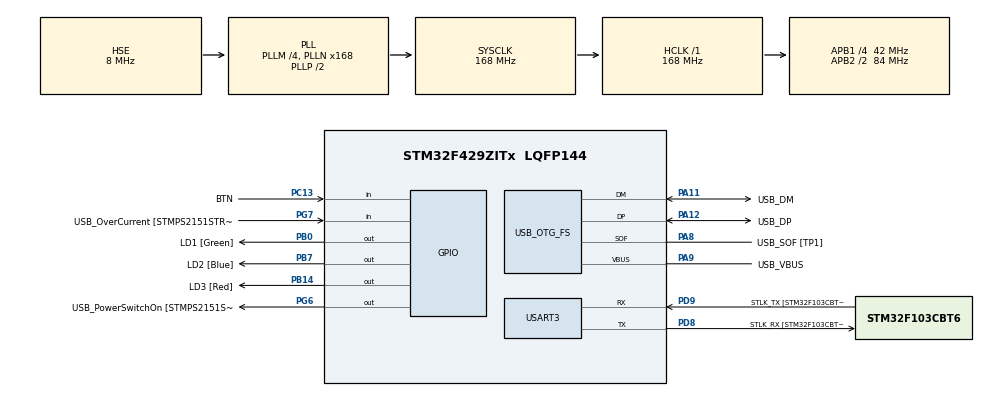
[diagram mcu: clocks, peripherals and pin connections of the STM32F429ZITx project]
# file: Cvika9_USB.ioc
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Mcu.Family=STM32F4
Mcu.Name=STM32F429ZITx
Mcu.Package=LQFP144
NVIC.OTG_FS_IRQn=true\:0\:0\:false\:false\:true\:false\:true\:true
NVIC.PriorityGroup=NVIC_PRIORITYGROUP_4
PA1.GPIO_Label=RMII_REF_CLK [LAN8742A-CZ-TR_REFCLK0]
PA1.Signal=ETH_REF_CLK
PA10.GPIO_Label=USB_ID
PA10.Signal=USB_OTG_FS_ID
PA11.GPIO_Label=USB_DM
PA11.Mode=Device_Only
PA11.Signal=USB_OTG_FS_DM
PA12.GPIO_Label=USB_DP
PA12.Mode=Device_Only
PA12.Signal=USB_OTG_FS_DP
PA13.GPIO_Label=TMS
PA13.Mode=Serial_Wire
PA13.Signal=SYS_JTMS-SWDIO
PA14.GPIO_Label=TCK
PA14.Mode=Serial_Wire
PA14.Signal=SYS_JTCK-SWCLK
PA2.GPIO_Label=RMII_MDIO [LAN8742A-CZ-TR_MDIO]
PA2.Signal=ETH_MDIO
PA7.GPIO_Label=RMII_CRS_DV [LAN8742A-CZ-TR_CRS_DV]
PA7.Signal=ETH_CRS_DV
PA8.GPIO_Label=USB_SOF [TP1]
PA8.Mode=Activate_SOF_FS
PA8.Signal=USB_OTG_FS_SOF
PA9.GPIO_Label=USB_VBUS
PA9.Mode=Activate_VBUS
PA9.Signal=USB_OTG_FS_VBUS
PB0.GPIO_Label=LD1 [Green]
PB0.Signal=GPIO_Output
PB13.GPIO_Label=RMII_TXD1 [LAN8742A-CZ-TR_TXD1]
PB13.Signal=ETH_TXD1
PB14.GPIO_Label=LD3 [Red]
PB14.Signal=GPIO_Output
PB7.GPIO_Label=LD2 [Blue]
PB7.Signal=GPIO_Output
PC1.GPIO_Label=RMII_MDC [LAN8742A-CZ-TR_MDC]
PC1.Signal=ETH_MDC
PC13.GPIO_Label=BTN
PC13.GPIO_PuPd=GPIO_PULLDOWN
PC13.Signal=GPIO_Input
PC14/OSC32_IN.Mode=LSE-External-Oscillator
PC14/OSC32_IN.Signal=RCC_OSC32_IN
PC15/OSC32_OUT.Mode=LSE-External-Oscillator
PC15/OSC32_OUT.Signal=RCC_OSC32_OUT
PC4.GPIO_Label=RMII_RXD0 [LAN8742A-CZ-TR_RXD0]
PC4.Signal=ETH_RXD0
PC5.GPIO_Label=RMII_RXD1 [LAN8742A-CZ-TR_RXD1]
PC5.Signal=ETH_RXD1
PD8.GPIO_Label=STLK_RX [STM32F103CBT6_PA3]
PD8.Mode=Asynchronous
PD8.Signal=USART3_TX
PD9.GPIO_Label=STLK_TX [STM32F103CBT6_PA2]
PD9.Mode=Asynchronous
PD9.Signal=USART3_RX
PG11.GPIO_Label=RMII_TX_EN [LAN8742A-CZ-TR_TXEN]
PG11.Signal=ETH_TX_EN
PG13.GPIO_Label=RMII_TXD0 [LAN8742A-CZ-TR_TXD0]
PG13.Signal=ETH_TXD0
PG6.GPIO_Label=USB_PowerSwitchOn [STMPS2151STR_EN]
PG6.Signal=GPIO_Output
PG7.GPIO_Label=USB_OverCurrent [STMPS2151STR_FAULT]
PG7.Signal=GPIO_Input
PH0/OSC_IN.GPIO_Label=MCO [STM32F103CBT6_PA8]
PH0/OSC_IN.Mode=HSE-External-Clock-Source
PH0/OSC_IN.Signal=RCC_OSC_IN
PH1/OSC_OUT.Mode=HSE-External-Clock-Source
PH1/OSC_OUT.Signal=RCC_OSC_OUT
ProjectManager.HeapSize=0x200
ProjectManager.StackSize=0x400
ProjectManager.TargetToolchain=STM32CubeIDE
RCC.48MHZClocksFreq_Value=48000000
RCC.AHBFreq_Value=168000000
RCC.APB1CLKDivider=RCC_HCLK_DIV4
RCC.APB1Freq_Value=42000000
RCC.APB1TimFreq_Value=84000000
RCC.APB2CLKDivider=RCC_HCLK_DIV2
RCC.APB2Freq_Value=84000000
RCC.APB2TimCLKDivider=2
RCC.APB2TimFreq_Value=168000000
RCC.CortexFreq_Value=168000000
RCC.HCLKFreq_Value=168000000
RCC.HSE_VALUE=8000000
RCC.HSI_VALUE=16000000
RCC.PLLM=4
RCC.PLLMUL=RCC_PLL_MUL9
RCC.PLLN=168
RCC.PLLQ=7
RCC.PRESCALERUSB=RCC_USBCLKSOURCE_PLL_DIV1_5
RCC.SYSCLKFreq_VALUE=168000000
RCC.SYSCLKSource=RCC_SYSCLKSOURCE_PLLCLK
RCC.SYSCLKSourceVirtual=RCC_SYSCLKSOURCE_PLLCLK
RCC.USBFreq_Value=48000000
RCC.VCOOutputFreq_Value=336000000
USART3.VirtualMode=VM_ASYNC
USB_DEVICE.CLASS_NAME_FS=HID
USB_DEVICE.VirtualMode-HID_FS=Hid
USB_DEVICE.VirtualModeFS=Hid_FS
USB_OTG_FS.VirtualMode=Device_Only
VP_USB_DEVICE_VS_USB_DEVICE_HID_FS.Mode=HID_FS
board=NUCLEO-F429ZI

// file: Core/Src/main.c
/* USER CODE BEGIN Header */
/**
 ******************************************************************************
 * @file           : main.c
 * @brief          : Main program body
 ******************************************************************************
 * @attention
 *
 * Copyright (c) 2024 STMicroelectronics.
 * All rights reserved.
 *
 * This software is licensed under terms that can be found in the LICENSE file
 * in the root directory of this software component.
 * If no LICENSE file comes with this software, it is provided AS-IS.
 *
 ******************************************************************************
 */
/* USER CODE END Header */
#include "main.h"
#include "usb_device.h"

/* USER CODE BEGIN Includes */
#include "usbd_hid.h"
#include <math.h>
#include <stdbool.h>
extern USBD_HandleTypeDef hUsbDeviceFS;
/* USER CODE END Includes */

UART_HandleTypeDef huart3;

void SystemClock_Config(void);
static void MX_GPIO_Init(void);
static void MX_USART3_UART_Init(void);
/* USER CODE BEGIN PFP */

void step(int x, int y, bool btn)
{
	uint8_t buff[4];
	buff[0] = btn ? 0x01 : 0x00;
	buff[1] = (int8_t)(x); //X +10
	buff[2] = (int8_t)(y); //Y -3
	buff[3] = 0; //No scroll

	HAL_GPIO_TogglePin(LD1_GPIO_Port, LD1_Pin);
	USBD_HID_SendReport(&hUsbDeviceFS, buff, sizeof(buff));
	HAL_Delay(USBD_HID_GetPollingInterval(&hUsbDeviceFS));
}

void circle(int radius)
{
	uint8_t r = radius;
	const uint8_t steps = 50;
	float angle = 2 * M_PI / steps;

	static int32_t sx = 0;
	static int32_t sy = 0;

	for(int i = 0; i <= steps; i ++)
	{

		float phi = i * angle;
		float x = r * cosf(phi);
		float y = r * sinf(phi);

		int32_t diff_x = x - sx;
		int32_t diff_y = y - sy;

		step(diff_x, diff_y, 1);
		HAL_Delay(50);

		sx = x;
		sy = y;
	}
}

void smiley(int radius, int eyes)
{
	uint8_t r = radius;
	const uint8_t steps = 50;
	float angle = 2 * M_PI / steps;

	static int32_t sx = 0;
	static int32_t sy = 0;

	//Face
	for(int i = 0; i <= steps; i++)
	{
		float phi = i * angle;
		float x = r * cosf(phi);
		float y = r * sinf(phi);

		int32_t diff_x = x - sx;
		int32_t diff_y = y - sy;

		step(diff_x, diff_y, 1);
		HAL_Delay(20);

		sx = x;
		sy = y;
	}

	//Eye n. 1

	uint8_t r2 = eyes;
	static int32_t jumpx = -50;
	static int32_t jumpy = -20;
	static int32_t sx2 = 0;
	static int32_t sy2 = 0;
	step(0,0,0);
	step(jumpx, jumpy, 0);

	for(int i = 0; i <= steps; i++)
	{
		float phi = i * angle;
		float x = r2 * cosf(phi);
		float y = r2 * sinf(phi);

		int32_t diff_x = x - sx2;
		int32_t diff_y = y - sy2;

		step(diff_x, diff_y, 1);
		HAL_Delay(5);

		sx2 = x;
		sy2 = y;
	}

	//Eye n. 2
	static int32_t jumpx2 = 4000;
	static int32_t jumpy2 = 0;
	step(0,0,0);
	step(jumpx2, jumpy2, 0);

	static int32_t sx3 = 0;
	static int32_t sy3 = 0;

	for(int i = 0; i <= steps; i++)
	{
		float phi = i * angle;
		float x = r2 * cosf(phi);
		float y = r2 * sinf(phi);

		int32_t diff_x = x - sx3;
		int32_t diff_y = y - sy3;

		step(diff_x, diff_y, 1);
		HAL_Delay(5);

		sx3 = x;
		sy3 = y;
	}

	//Mouth
	uint8_t r3 = 50;

	static int32_t jumpx3 = 60;
	static int32_t jumpy3 = 60;

	step(0,0,0);
	step(jumpx3, jumpy3, 0);

	static int32_t sx4 = 0;
	static int32_t sy4 = 0;

	for(int i = 25; i <= steps; i++)
	{
		float phi = i * angle;
		float x = r3 * cosf(phi);
		float y = r3 * sinf(phi);

		int32_t diff_x = x - sx4;
		int32_t diff_y = y - sy4;

		step(diff_x, diff_y, 1);
		HAL_Delay(5);

		sx4 = x;
		sy4 = y;
	}
/*
	 //Nose
	int8_t x5 = 34;
	int8_t y5 = 50;
	step(0,0,0);
	step(x5, y5,0);
	for(int i = 0; i < 9; i++)
	{
		step(0 ,i, 1);
		HAL_Delay(5);
	}
step(0,0,0);
*/
}

/* USER CODE END PFP */

/* USER CODE BEGIN 0 */

//USBD_HID_SendReport(&hUsbDeviceFS, buff, sizeof(buff));
//HAL_Delay(USBD_HID_GetPollingInterval(&hUsbDeviceFS));
/* USER CODE END 0 */

int main(void)
{

	/* MCU Configuration--------------------------------------------------------*/

	/* Reset of all peripherals, Initializes the Flash interface and the Systick. */
	HAL_Init();

	/* Configure the system clock */
	SystemClock_Config();

	/* Initialize all configured peripherals */
	MX_GPIO_Init();
	MX_USART3_UART_Init();
	MX_USB_DEVICE_Init();

	/* Infinite loop */
	/* USER CODE BEGIN WHILE */
	while (1)
	{

		if(HAL_GPIO_ReadPin(BTN_GPIO_Port,BTN_Pin) == 1)
		{
			/*
			uint8_t buff[4];
			buff[0] = 0x01;
			buff[1] = (int8_t)(10); //X +10
			buff[2] = (int8_t)(-3); //Y -3
			buff[3] = 0; //No scroll

			HAL_GPIO_TogglePin(LD1_GPIO_Port, LD1_Pin);
			USBD_HID_SendReport(&hUsbDeviceFS, buff, sizeof(buff));
			HAL_Delay(USBD_HID_GetPollingInterval(&hUsbDeviceFS));
			 */
			//circle(100);
			smiley(100,30);
		}

		/* USER CODE END WHILE */

	}
}

void SystemClock_Config(void)
{
	RCC_OscInitTypeDef RCC_OscInitStruct = {0};
	RCC_ClkInitTypeDef RCC_ClkInitStruct = {0};

	/** Configure the main internal regulator output voltage
	 */
	__HAL_RCC_PWR_CLK_ENABLE();
	__HAL_PWR_VOLTAGESCALING_CONFIG(PWR_REGULATOR_VOLTAGE_SCALE1);

	/** Initializes the RCC Oscillators according to the specified parameters
	 * in the RCC_OscInitTypeDef structure.
	 */
	RCC_OscInitStruct.OscillatorType = RCC_OSCILLATORTYPE_HSE;
	RCC_OscInitStruct.HSEState = RCC_HSE_BYPASS;
	RCC_OscInitStruct.PLL.PLLState = RCC_PLL_ON;
	RCC_OscInitStruct.PLL.PLLSource = RCC_PLLSOURCE_HSE;
	RCC_OscInitStruct.PLL.PLLM = 4;
	RCC_OscInitStruct.PLL.PLLN = 168;
	RCC_OscInitStruct.PLL.PLLP = RCC_PLLP_DIV2;
	RCC_OscInitStruct.PLL.PLLQ = 7;
	if (HAL_RCC_OscConfig(&RCC_OscInitStruct) != HAL_OK)
	{
		Error_Handler();
	}

	/** Initializes the CPU, AHB and APB buses clocks
	 */
	RCC_ClkInitStruct.ClockType = RCC_CLOCKTYPE_HCLK|RCC_CLOCKTYPE_SYSCLK
			|RCC_CLOCKTYPE_PCLK1|RCC_CLOCKTYPE_PCLK2;
	RCC_ClkInitStruct.SYSCLKSource = RCC_SYSCLKSOURCE_PLLCLK;
	RCC_ClkInitStruct.AHBCLKDivider = RCC_SYSCLK_DIV1;
	RCC_ClkInitStruct.APB1CLKDivider = RCC_HCLK_DIV4;
	RCC_ClkInitStruct.APB2CLKDivider = RCC_HCLK_DIV2;

	if (HAL_RCC_ClockConfig(&RCC_ClkInitStruct, FLASH_LATENCY_5) != HAL_OK)
	{
		Error_Handler();
	}
}

static void MX_USART3_UART_Init(void)
{

	huart3.Instance = USART3;
	huart3.Init.BaudRate = 115200;
	huart3.Init.WordLength = UART_WORDLENGTH_8B;
	huart3.Init.StopBits = UART_STOPBITS_1;
	huart3.Init.Parity = UART_PARITY_NONE;
	huart3.Init.Mode = UART_MODE_TX_RX;
	huart3.Init.HwFlowCtl = UART_HWCONTROL_NONE;
	huart3.Init.OverSampling = UART_OVERSAMPLING_16;
	if (HAL_UART_Init(&huart3) != HAL_OK)
	{
		Error_Handler();
	}

}

static void MX_GPIO_Init(void)
{
	GPIO_InitTypeDef GPIO_InitStruct = {0};

	/* GPIO Ports Clock Enable */
	__HAL_RCC_GPIOC_CLK_ENABLE();
	__HAL_RCC_GPIOH_CLK_ENABLE();
	__HAL_RCC_GPIOA_CLK_ENABLE();
	__HAL_RCC_GPIOB_CLK_ENABLE();
	__HAL_RCC_GPIOD_CLK_ENABLE();
	__HAL_RCC_GPIOG_CLK_ENABLE();

	/*Configure GPIO pin Output Level */
	HAL_GPIO_WritePin(GPIOB, LD1_Pin|LD3_Pin|LD2_Pin, GPIO_PIN_RESET);

	/*Configure GPIO pin Output Level */
	HAL_GPIO_WritePin(USB_PowerSwitchOn_GPIO_Port, USB_PowerSwitchOn_Pin, GPIO_PIN_RESET);

	/*Configure GPIO pin : BTN_Pin */
	GPIO_InitStruct.Pin = BTN_Pin;
	GPIO_InitStruct.Mode = GPIO_MODE_INPUT;
	GPIO_InitStruct.Pull = GPIO_PULLDOWN;
	HAL_GPIO_Init(BTN_GPIO_Port, &GPIO_InitStruct);

	/*Configure GPIO pins : RMII_MDC_Pin RMII_RXD0_Pin RMII_RXD1_Pin */
	GPIO_InitStruct.Pin = RMII_MDC_Pin|RMII_RXD0_Pin|RMII_RXD1_Pin;
	GPIO_InitStruct.Mode = GPIO_MODE_AF_PP;
	GPIO_InitStruct.Pull = GPIO_NOPULL;
	GPIO_InitStruct.Speed = GPIO_SPEED_FREQ_VERY_HIGH;
	GPIO_InitStruct.Alternate = GPIO_AF11_ETH;
	HAL_GPIO_Init(GPIOC, &GPIO_InitStruct);

	/*Configure GPIO pins : RMII_REF_CLK_Pin RMII_MDIO_Pin RMII_CRS_DV_Pin */
	GPIO_InitStruct.Pin = RMII_REF_CLK_Pin|RMII_MDIO_Pin|RMII_CRS_DV_Pin;
	GPIO_InitStruct.Mode = GPIO_MODE_AF_PP;
	GPIO_InitStruct.Pull = GPIO_NOPULL;
	GPIO_InitStruct.Speed = GPIO_SPEED_FREQ_VERY_HIGH;
	GPIO_InitStruct.Alternate = GPIO_AF11_ETH;
	HAL_GPIO_Init(GPIOA, &GPIO_InitStruct);

	/*Configure GPIO pins : LD1_Pin LD3_Pin LD2_Pin */
	GPIO_InitStruct.Pin = LD1_Pin|LD3_Pin|LD2_Pin;
	GPIO_InitStruct.Mode = GPIO_MODE_OUTPUT_PP;
	GPIO_InitStruct.Pull = GPIO_NOPULL;
	GPIO_InitStruct.Speed = GPIO_SPEED_FREQ_LOW;
	HAL_GPIO_Init(GPIOB, &GPIO_InitStruct);

	/*Configure GPIO pin : RMII_TXD1_Pin */
	GPIO_InitStruct.Pin = RMII_TXD1_Pin;
	GPIO_InitStruct.Mode = GPIO_MODE_AF_PP;
	GPIO_InitStruct.Pull = GPIO_NOPULL;
	GPIO_InitStruct.Speed = GPIO_SPEED_FREQ_VERY_HIGH;
	GPIO_InitStruct.Alternate = GPIO_AF11_ETH;
	HAL_GPIO_Init(RMII_TXD1_GPIO_Port, &GPIO_InitStruct);

	/*Configure GPIO pin : USB_PowerSwitchOn_Pin */
	GPIO_InitStruct.Pin = USB_PowerSwitchOn_Pin;
	GPIO_InitStruct.Mode = GPIO_MODE_OUTPUT_PP;
	GPIO_InitStruct.Pull = GPIO_NOPULL;
	GPIO_InitStruct.Speed = GPIO_SPEED_FREQ_LOW;
	HAL_GPIO_Init(USB_PowerSwitchOn_GPIO_Port, &GPIO_InitStruct);

	/*Configure GPIO pin : USB_OverCurrent_Pin */
	GPIO_InitStruct.Pin = USB_OverCurrent_Pin;
	GPIO_InitStruct.Mode = GPIO_MODE_INPUT;
	GPIO_InitStruct.Pull = GPIO_NOPULL;
	HAL_GPIO_Init(USB_OverCurrent_GPIO_Port, &GPIO_InitStruct);

	/*Configure GPIO pins : RMII_TX_EN_Pin RMII_TXD0_Pin */
	GPIO_InitStruct.Pin = RMII_TX_EN_Pin|RMII_TXD0_Pin;
	GPIO_InitStruct.Mode = GPIO_MODE_AF_PP;
	GPIO_InitStruct.Pull = GPIO_NOPULL;
	GPIO_InitStruct.Speed = GPIO_SPEED_FREQ_VERY_HIGH;
	GPIO_InitStruct.Alternate = GPIO_AF11_ETH;
	HAL_GPIO_Init(GPIOG, &GPIO_InitStruct);

}

void Error_Handler(void)
{
	__disable_irq();
	while (1)
	{
	}
}
